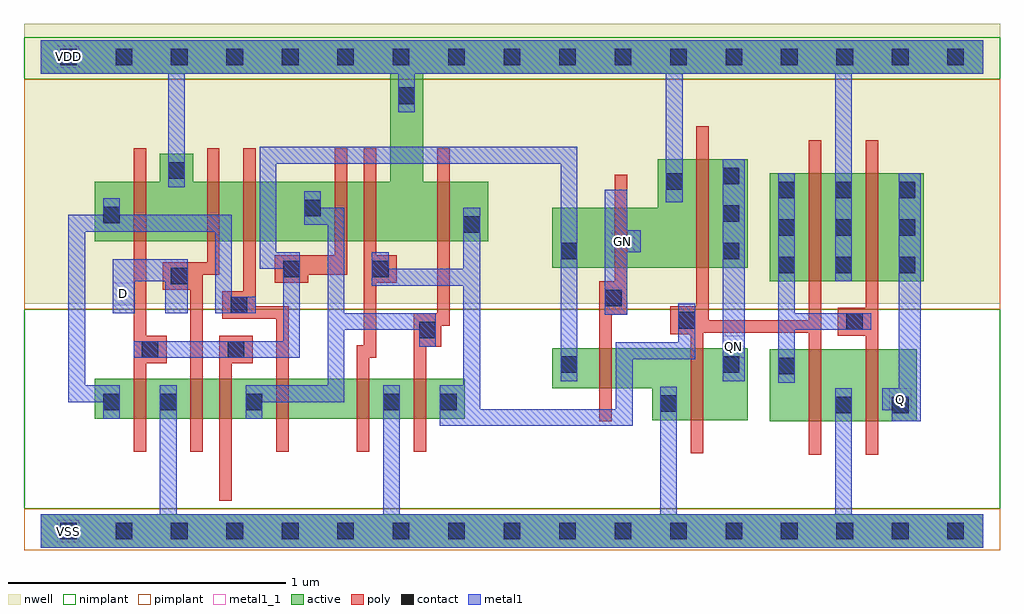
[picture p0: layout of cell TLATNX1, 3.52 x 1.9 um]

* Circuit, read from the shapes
.subckt TLATNX1 D GN Q QN VDD VSS
M1 VSS n1 n2 VSS nfet w=0.145u l=0.045u
M2 n3 D VSS VSS nfet w=0.145u l=0.045u
M3 n4 n1 n3 VSS nfet w=0.145u l=0.045u
M4 n5 n2 n4 VSS nfet w=0.145u l=0.045u
M5 VSS n6 n5 VSS nfet w=0.145u l=0.045u
M6 n6 n4 VSS VSS nfet w=0.145u l=0.045u
M7 VSS GN n1 VSS nfet w=0.145u l=0.045u
M8 QN n6 VSS VSS nfet w=0.26u l=0.045u
M9 VSS n6 n7 VSS nfet w=0.26u l=0.045u
M10 Q n7 VSS VSS nfet w=0.26u l=0.045u
M11 VDD n1 n2 VDD pfet w=0.215u l=0.045u
M12 n8 D VDD VDD pfet w=0.215u l=0.045u
M13 n4 n2 n8 VDD pfet w=0.215u l=0.045u
M14 n9 n1 n4 VDD pfet w=0.215u l=0.045u
M15 VDD n6 n9 VDD pfet w=0.215u l=0.045u
M16 n6 n4 VDD VDD pfet w=0.215u l=0.045u
M17 VDD GN n1 VDD pfet w=0.215u l=0.045u
M18 QN n6 VDD VDD pfet w=0.39u l=0.045u
M19 VDD n6 n7 VDD pfet w=0.39u l=0.045u
M20 Q n7 VDD VDD pfet w=0.39u l=0.045u
.ends

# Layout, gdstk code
import gdstk
lib = gdstk.Library(unit=1e-6, precision=5e-10)
def R(c, l, rs):  # rectangles x0, y0, x1, y1
    for r in rs: c.add(gdstk.rectangle(r[:2], r[2:], *l))
def A(c, l, x, y, w, h, nx, ny, dx, dy):  # array of equal rectangles
    R(c, l, [(x+i*dx, y+j*dy, x+i*dx+w, y+j*dy+h) for i in range(nx) for j in range(ny)])
def P(c, l, *ps):  # polygons
    for p in ps: c.add(gdstk.Polygon(p, *l))
active = (1, 0)
nwell = (2, 0)
poly = (3, 0)
nimplant = (4, 0)
pimplant = (5, 0)
contact = (6, 0)
metal1 = (7, 0)
metal1_1 = (7, 1)

tlatnx1 = lib.new_cell('TLATNX1')
R(tlatnx1, active, [(0,-0.06,3.4,0.06), (2.63,0.395,3.16,0.655), (0.195,0.405,1.53,0.55), (2.63,0.9,3.185,1.29)])
P(tlatnx1, active, [(0,1.77),(3.4,1.77),(3.4,1.65),(1.38,1.65),(1.38,1.26),(1.615,1.26),(1.615,1.045),(0.195,1.045),(0.195,1.26),(0.43,1.26),(0.43,1.36),(0.55,1.36),(0.55,1.26),(1.26,1.26),(1.26,1.65),(0,1.65)],
  [(2.225,1.34),(2.55,1.34),(2.55,0.95),(1.845,0.95),(1.845,1.165),(2.225,1.165)],
  [(1.845,0.66),(2.55,0.66),(2.55,0.4),(2.205,0.4),(2.205,0.515),(1.845,0.515)])
R(tlatnx1, nwell, [(-0.06,0.82,3.46,1.83)])
P(tlatnx1, poly, [(0.335,1.38),(0.38,1.38),(0.38,0.705),(0.455,0.705),(0.455,0.605),(0.38,0.605),(0.38,0.285),(0.335,0.285)],
  [(0.6,1.38),(0.645,1.38),(0.645,0.925),(0.585,0.925),(0.585,0.285),(0.54,0.285),(0.54,0.87),(0.44,0.87),(0.44,0.97),(0.6,0.97)],
  [(0.73,1.38),(0.775,1.38),(0.775,0.81),(0.895,0.81),(0.895,0.285),(0.85,0.285),(0.85,0.765),(0.655,0.765),(0.655,0.865),(0.73,0.865)],
  [(1.06,1.38),(1.105,1.38),(1.105,0.925),(0.965,0.925),(0.965,0.895),(0.845,0.895),(0.845,0.995),(1.06,0.995)],
  [(1.165,1.38),(1.21,1.38),(1.21,0.995),(1.285,0.995),(1.285,0.895),(1.21,0.895),(1.21,0.625),(1.185,0.625),(1.185,0.285),(1.14,0.285),(1.14,0.67),(1.165,0.67)],
  [(1.43,1.38),(1.475,1.38),(1.475,0.74),(1.445,0.74),(1.445,0.665),(1.39,0.665),(1.39,0.285),(1.345,0.285),(1.345,0.785),(1.43,0.785)],
  [(2.365,1.46),(2.41,1.46),(2.41,0.76),(2.77,0.76),(2.77,1.41),(2.815,1.41),(2.815,0.275),(2.77,0.275),(2.77,0.715),(2.39,0.715),(2.39,0.28),(2.345,0.28),(2.345,0.71),(2.27,0.71),(2.27,0.81),(2.365,0.81)],
  [(2.07,1.285),(2.115,1.285),(2.115,0.78),(2.06,0.78),(2.06,0.395),(2.015,0.395),(2.015,0.9),(2.07,0.9)],
  [(2.975,1.41),(3.02,1.41),(3.02,0.275),(2.975,0.275),(2.975,0.705),(2.875,0.705),(2.875,0.805),(2.975,0.805)],
  [(0.645,0.705),(0.765,0.705),(0.765,0.605),(0.69,0.605),(0.69,0.11),(0.645,0.11)])
R(tlatnx1, nimplant, [(-0.06,0.08,3.46,0.8), (-0.06,1.63,3.46,1.78)])
R(tlatnx1, pimplant, [(-0.06,-0.07,3.46,0.08), (-0.06,0.8,3.46,1.63)])
A(tlatnx1, contact, 0.07, -0.03, 0.06, 0.06, 17, 2, 0.2, 1.71)
A(tlatnx1, contact, 2.66, 0.93, 0.06, 0.06, 1, 3, 0, 0.135)
A(tlatnx1, contact, 2.865, 0.93, 0.06, 0.06, 1, 3, 0, 0.135)
A(tlatnx1, contact, 3.095, 0.93, 0.06, 0.06, 1, 3, 0, 0.135)
A(tlatnx1, contact, 2.46, 0.98, 0.06, 0.06, 1, 3, 0, 0.135)
R(tlatnx1, contact, [(2.865,0.425,2.925,0.485), (3.07,0.425,3.13,0.485), (2.235,0.43,2.295,0.49), (0.225,0.435,0.285,0.495), (0.43,0.435,0.49,0.495), (0.74,0.435,0.8,0.495), (1.235,0.435,1.295,0.495), (1.44,0.435,1.5,0.495), (2.66,0.565,2.72,0.625), (1.875,0.57,1.935,0.63), (2.46,0.57,2.52,0.63), (0.365,0.625,0.425,0.685), (0.675,0.625,0.735,0.685), (1.365,0.695,1.425,0.755), (2.905,0.725,2.965,0.785), (2.3,0.73,2.36,0.79), (0.685,0.785,0.745,0.845), (2.035,0.81,2.095,0.87), (0.47,0.89,0.53,0.95), (0.875,0.915,0.935,0.975), (1.195,0.915,1.255,0.975), (1.875,0.98,1.935,1.04), (1.525,1.075,1.585,1.135), (0.225,1.11,0.285,1.17), (0.95,1.135,1.01,1.195), (2.255,1.23,2.315,1.29), (0.46,1.27,0.52,1.33), (1.29,1.54,1.35,1.6)])
R(tlatnx1, metal1, [(2.46,0.54,2.54,1.34)])
P(tlatnx1, metal1, [(0,1.77),(3.4,1.77),(3.4,1.65),(2.925,1.65),(2.925,0.9),(2.865,0.9),(2.865,1.65),(2.315,1.65),(2.315,1.185),(2.255,1.185),(2.255,1.65),(1.35,1.65),(1.35,1.51),(1.29,1.51),(1.29,1.65),(0.52,1.65),(0.52,1.24),(0.46,1.24),(0.46,1.65),(0,1.65)],
  [(0.79,1.385),(1.935,1.385),(1.935,0.54),(1.875,0.54),(1.875,1.325),(0.85,1.325),(0.85,1.005),(0.935,1.005),(0.935,0.625),(0.335,0.625),(0.335,0.685),(0.875,0.685),(0.875,0.945),(0.79,0.945)],
  [(0.225,1.2),(0.285,1.2),(0.285,1.14),(0.69,1.14),(0.69,0.845),(0.775,0.845),(0.775,0.785),(0.63,0.785),(0.63,1.08),(0.16,1.08),(0.16,0.525),(0.285,0.525),(0.285,0.405),(0.225,0.405),(0.225,0.465),(0.1,0.465),(0.1,1.14),(0.225,1.14)],
  [(0.26,0.98),(0.53,0.98),(0.53,0.785),(0.45,0.785),(0.45,0.9),(0.34,0.9),(0.34,0.785),(0.26,0.785)],
  [(0.95,1.225),(1.01,1.225),(1.01,1.165),(1.095,1.165),(1.095,0.785),(1.425,0.785),(1.425,0.665),(1.365,0.665),(1.365,0.725),(1.095,0.725),(1.095,0.465),(0.8,0.465),(0.8,0.405),(0.74,0.405),(0.74,0.525),(1.035,0.525),(1.035,1.105),(0.95,1.105)],
  [(1.195,1.005),(1.255,1.005),(1.255,0.945),(1.525,0.945),(1.525,1.165),(1.585,1.165),(1.585,0.44),(2.075,0.44),(2.075,0.68),(2.3,0.68),(2.3,0.82),(2.36,0.82),(2.36,0.62),(2.135,0.62),(2.135,0.38),(1.44,0.38),(1.44,0.525),(1.525,0.525),(1.525,0.885),(1.195,0.885)],
  [(2.035,1.23),(2.115,1.23),(2.115,1.085),(2.165,1.085),(2.165,1.005),(2.115,1.005),(2.115,0.78),(2.035,0.78)],
  [(2.66,1.29),(2.72,1.29),(2.72,0.785),(2.995,0.785),(2.995,0.725),(2.72,0.725),(2.72,0.535),(2.66,0.535)],
  [(3.095,1.29),(3.175,1.29),(3.175,0.395),(3.07,0.395),(3.07,0.435),(3.035,0.435),(3.035,0.515),(3.095,0.515)],
  [(0.43,0.525),(0.49,0.525),(0.49,0.06),(1.235,0.06),(1.235,0.525),(1.295,0.525),(1.295,0.06),(2.235,0.06),(2.235,0.52),(2.295,0.52),(2.295,0.06),(2.865,0.06),(2.865,0.515),(2.925,0.515),(2.925,0.06),(3.4,0.06),(3.4,-0.06),(0,-0.06),(0,0.06),(0.43,0.06)])
R(tlatnx1, metal1_1, [(0.06,-0.04,0.14,0.04), (3.06,0.435,3.14,0.515), (2.46,0.625,2.54,0.705), (0.26,0.815,0.34,0.895), (2.06,1.005,2.14,1.085), (0.06,1.67,0.14,1.75)])
tlatnx1.add(gdstk.Label('Q', (3.1,0.475), layer=7, texttype=1))
tlatnx1.add(gdstk.Label('QN', (2.5,0.665), layer=7, texttype=1))
tlatnx1.add(gdstk.Label('GN', (2.1,1.045), layer=7, texttype=1))
tlatnx1.add(gdstk.Label('D', (0.3,0.855), layer=7, texttype=1))
tlatnx1.add(gdstk.Label('VDD', (0.1,1.71), layer=7, texttype=1))
tlatnx1.add(gdstk.Label('VSS', (0.1,0), layer=7, texttype=1))
tlatnx1.add(gdstk.Label('TLATNX1', (0,0), layer=63, texttype=0))

lib.write_gds('TLATNX1.gds')
